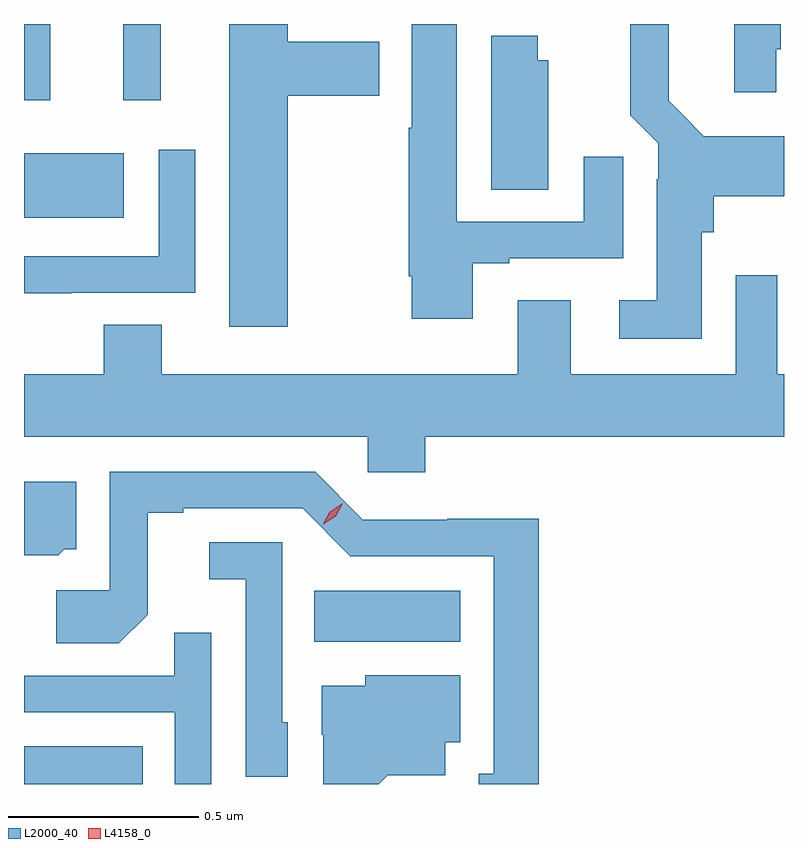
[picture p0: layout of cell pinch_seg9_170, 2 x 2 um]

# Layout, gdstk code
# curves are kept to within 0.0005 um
import gdstk
lib = gdstk.Library(unit=1e-6, precision=1e-09)
def R(c, l, rs):  # rectangles x0, y0, x1, y1
    for r in rs: c.add(gdstk.rectangle(r[:2], r[2:], *l))
def P(c, l, *ps):  # polygons
    for p in ps: c.add(gdstk.Polygon(p, *l))
L2000_40 = (2000, 40)
L4158_0 = (4158, 0)

pinch_seg9_170 = lib.new_cell('pinch_seg9_170')
R(pinch_seg9_170, L2000_40, [(690.272,1164.87,690.584,1164.969), (691.036,1165.244,691.42,1165.378), (690.272,1166.36,690.535,1166.53), (690.272,1166.67,690.341,1166.87), (690.533,1166.67,690.632,1166.87)])
P(pinch_seg9_170, L2000_40, [(692.056,1166.322),(692.087,1166.322),(692.087,1166.417),(692.272,1166.417),(692.272,1166.575),(692.061,1166.575),(691.969,1166.668),(691.969,1166.87),(691.867,1166.87),(691.867,1166.63),(691.941,1166.556),(691.941,1166.462),(691.937,1166.462),(691.937,1166.143),(691.839,1166.143),(691.839,1166.042),(692.056,1166.042)],
  [(690.966,1166.681),(691.207,1166.681),(691.207,1166.823),(690.966,1166.823),(690.966,1166.87),(690.812,1166.87),(690.812,1166.073),(690.966,1166.073)],
  [(691.453,1166.241),(691.549,1166.241),(691.549,1166.253),(691.849,1166.253),(691.849,1166.521),(691.745,1166.521),(691.745,1166.349),(691.411,1166.349),(691.411,1166.87),(691.292,1166.87),(691.292,1166.597),(691.285,1166.597),(691.285,1166.206),(691.292,1166.206),(691.292,1166.094),(691.453,1166.094)],
  [(692.251,1166.803),(692.264,1166.803),(692.264,1166.87),(692.141,1166.87),(692.141,1166.691),(692.251,1166.691)],
  [(691.651,1166.775),(691.624,1166.775),(691.624,1166.839),(691.502,1166.839),(691.502,1166.434),(691.651,1166.434)],
  [(690.398,1166.163),(690.723,1166.163),(690.723,1166.539),(690.627,1166.539),(690.627,1166.259),(690.272,1166.259),(690.272,1166.162),(690.398,1166.162)],
  [(691.328,1165.784),(692.272,1165.784),(692.272,1165.948),(692.254,1165.948),(692.254,1166.209),(692.145,1166.209),(692.145,1165.948),(691.711,1165.948),(691.711,1166.143),(691.571,1166.143),(691.571,1165.948),(690.634,1165.948),(690.634,1166.078),(690.482,1166.078),(690.482,1165.948),(690.272,1165.948),(690.272,1165.784),(691.176,1165.784),(691.176,1165.691),(691.328,1165.691)],
  [(691.627,1165.568),(691.386,1165.568),(691.386,1165.566),(691.164,1165.566),(691.038,1165.692),(690.498,1165.692),(690.498,1165.38),(690.357,1165.38),(690.357,1165.24),(690.521,1165.24),(690.597,1165.316),(690.597,1165.584),(690.691,1165.584),(690.691,1165.596),(691.005,1165.596),(691.131,1165.47),(691.508,1165.47),(691.508,1164.897),(691.469,1164.897),(691.469,1164.87),(691.627,1164.87)],
  [(690.378,1165.488),(690.409,1165.488),(690.409,1165.666),(690.272,1165.666),(690.272,1165.472),(690.362,1165.472)],
  [(690.966,1165.032),(690.951,1165.032),(690.951,1165.506),(690.759,1165.506),(690.759,1165.409),(690.855,1165.409),(690.855,1164.889),(690.966,1164.889)],
  [(690.765,1165.268),(690.667,1165.268),(690.667,1165.155),(690.272,1165.155),(690.272,1165.059),(690.669,1165.059),(690.669,1164.87),(690.765,1164.87)],
  [(691.229,1164.893),(691.381,1164.893),(691.381,1164.98),(691.42,1164.98),(691.42,1165.156),(691.17,1165.156),(691.17,1165.129),(691.055,1165.129),(691.055,1165),(691.059,1165),(691.059,1164.87),(691.206,1164.87)])
P(pinch_seg9_170, L4158_0, [(691.06,1165.554),(691.06,1165.555),(691.077,1165.587),(691.108,1165.607),(691.109,1165.607),(691.109,1165.606),(691.092,1165.574),(691.06,1165.554)])

lib.write_gds('pinch_seg9_170.gds')
